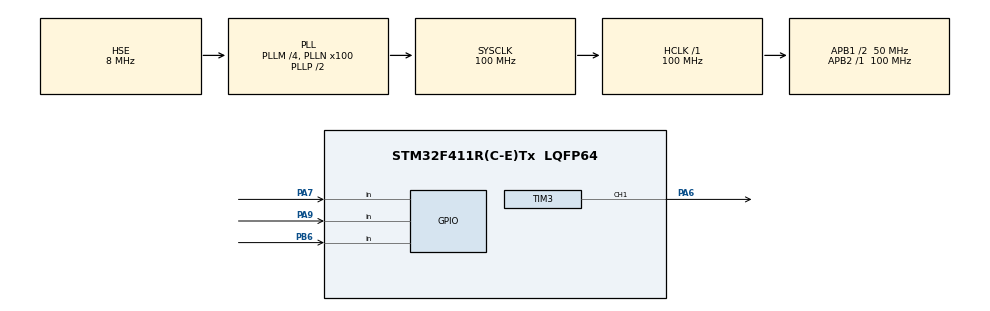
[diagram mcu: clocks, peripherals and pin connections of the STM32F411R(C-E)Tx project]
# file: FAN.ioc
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Mcu.Family=STM32F4
Mcu.Name=STM32F411R(C-E)Tx
Mcu.Package=LQFP64
NVIC.PriorityGroup=NVIC_PRIORITYGROUP_4
PA13.Mode=Serial_Wire
PA13.Signal=SYS_JTMS-SWDIO
PA14.Mode=Serial_Wire
PA14.Signal=SYS_JTCK-SWCLK
PA6.Signal=S_TIM3_CH1
PA7.Signal=GPIO_Input
PA9.Signal=GPIO_Input
PB6.Signal=GPIO_Input
PH0\ -\ OSC_IN.Mode=HSE-External-Oscillator
PH0\ -\ OSC_IN.Signal=RCC_OSC_IN
PH1\ -\ OSC_OUT.Mode=HSE-External-Oscillator
PH1\ -\ OSC_OUT.Signal=RCC_OSC_OUT
ProjectManager.HeapSize=0x200
ProjectManager.StackSize=0x400
ProjectManager.TargetToolchain=STM32CubeIDE
RCC.48MHZClocksFreq_Value=50000000
RCC.AHBFreq_Value=100000000
RCC.APB1CLKDivider=RCC_HCLK_DIV2
RCC.APB1Freq_Value=50000000
RCC.APB1TimFreq_Value=100000000
RCC.APB2Freq_Value=100000000
RCC.APB2TimFreq_Value=100000000
RCC.CortexFreq_Value=100000000
RCC.HCLKFreq_Value=100000000
RCC.HSE_VALUE=8000000
RCC.HSI_VALUE=16000000
RCC.LSE_VALUE=32768
RCC.PLLM=4
RCC.PLLN=100
RCC.PLLSourceVirtual=RCC_PLLSOURCE_HSE
RCC.SYSCLKFreq_VALUE=100000000
RCC.SYSCLKSource=RCC_SYSCLKSOURCE_PLLCLK
RCC.VCOOutputFreq_Value=200000000
SH.S_TIM3_CH1.0=TIM3_CH1,PWM Generation1 CH1
TIM3.Channel-PWM\ Generation1\ CH1=TIM_CHANNEL_1
TIM3.Period=1000-1
TIM3.Prescaler=1000-1
VP_TIM3_VS_ClockSourceINT.Mode=Internal
board=custom

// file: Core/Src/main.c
/* USER CODE BEGIN Header */
/**
  ******************************************************************************
  * @file           : main.c
  * @brief          : Main program body
  ******************************************************************************
  * @attention
  *
  * Copyright (c) 2023 STMicroelectronics.
  * All rights reserved.
  *
  * This software is licensed under terms that can be found in the LICENSE file
  * in the root directory of this software component.
  * If no LICENSE file comes with this software, it is provided AS-IS.
  *
  ******************************************************************************
  */
/* USER CODE END Header */
#include "main.h"
#include "tim.h"
#include "gpio.h"

/* USER CODE BEGIN Includes */
#include "button.h"
/* USER CODE END Includes */

/* USER CODE BEGIN PV */
int pwr;
/* USER CODE END PV */

void SystemClock_Config(void);

int main(void)
{
  /* USER CODE BEGIN 1 */
	Button stop;
	Button up;
	Button down;
  /* USER CODE END 1 */

  /* MCU Configuration--------------------------------------------------------*/

  /* Reset of all peripherals, Initializes the Flash interface and the Systick. */
  HAL_Init();

  /* USER CODE BEGIN Init */

	 Button_Init(&stop, GPIOA, GPIO_PIN_7);
	 Button_Init(&up, GPIOB, GPIO_PIN_6);
	 Button_Init(&down, GPIOA, GPIO_PIN_9);

  /* USER CODE END Init */

  /* Configure the system clock */
  SystemClock_Config();

  /* Initialize all configured peripherals */
  MX_GPIO_Init();
  MX_TIM3_Init();
  /* USER CODE BEGIN 2 */
  HAL_TIM_PWM_Start(&htim3, TIM_CHANNEL_1);
  /* USER CODE END 2 */

  /* Infinite loop */
  while (1)
  {

    /* USER CODE BEGIN 3 */

	  if(Button_getState(&stop) == ACT_PUSHED)
	  {
		  pwr = 0;
	  }

	  if(Button_getState(&up) == ACT_PUSHED)
	  {
		  pwr += 100;
	  }

	  if(Button_getState(&down) == ACT_PUSHED)
	  {
		  pwr -= 100;
	  }

	  TIM3->CCR1 = pwr;

  }
  /* USER CODE END 3 */
}

void SystemClock_Config(void)
{
  RCC_OscInitTypeDef RCC_OscInitStruct = {0};
  RCC_ClkInitTypeDef RCC_ClkInitStruct = {0};

  /** Configure the main internal regulator output voltage
  */
  __HAL_RCC_PWR_CLK_ENABLE();
  __HAL_PWR_VOLTAGESCALING_CONFIG(PWR_REGULATOR_VOLTAGE_SCALE1);

  /** Initializes the RCC Oscillators according to the specified parameters
  * in the RCC_OscInitTypeDef structure.
  */
  RCC_OscInitStruct.OscillatorType = RCC_OSCILLATORTYPE_HSE;
  RCC_OscInitStruct.HSEState = RCC_HSE_ON;
  RCC_OscInitStruct.PLL.PLLState = RCC_PLL_ON;
  RCC_OscInitStruct.PLL.PLLSource = RCC_PLLSOURCE_HSE;
  RCC_OscInitStruct.PLL.PLLM = 4;
  RCC_OscInitStruct.PLL.PLLN = 100;
  RCC_OscInitStruct.PLL.PLLP = RCC_PLLP_DIV2;
  RCC_OscInitStruct.PLL.PLLQ = 4;
  if (HAL_RCC_OscConfig(&RCC_OscInitStruct) != HAL_OK)
  {
    Error_Handler();
  }

  /** Initializes the CPU, AHB and APB buses clocks
  */
  RCC_ClkInitStruct.ClockType = RCC_CLOCKTYPE_HCLK|RCC_CLOCKTYPE_SYSCLK
                              |RCC_CLOCKTYPE_PCLK1|RCC_CLOCKTYPE_PCLK2;
  RCC_ClkInitStruct.SYSCLKSource = RCC_SYSCLKSOURCE_PLLCLK;
  RCC_ClkInitStruct.AHBCLKDivider = RCC_SYSCLK_DIV1;
  RCC_ClkInitStruct.APB1CLKDivider = RCC_HCLK_DIV2;
  RCC_ClkInitStruct.APB2CLKDivider = RCC_HCLK_DIV1;

  if (HAL_RCC_ClockConfig(&RCC_ClkInitStruct, FLASH_LATENCY_3) != HAL_OK)
  {
    Error_Handler();
  }
}

void Error_Handler(void)
{
  __disable_irq();
  while (1)
  {
  }
}
